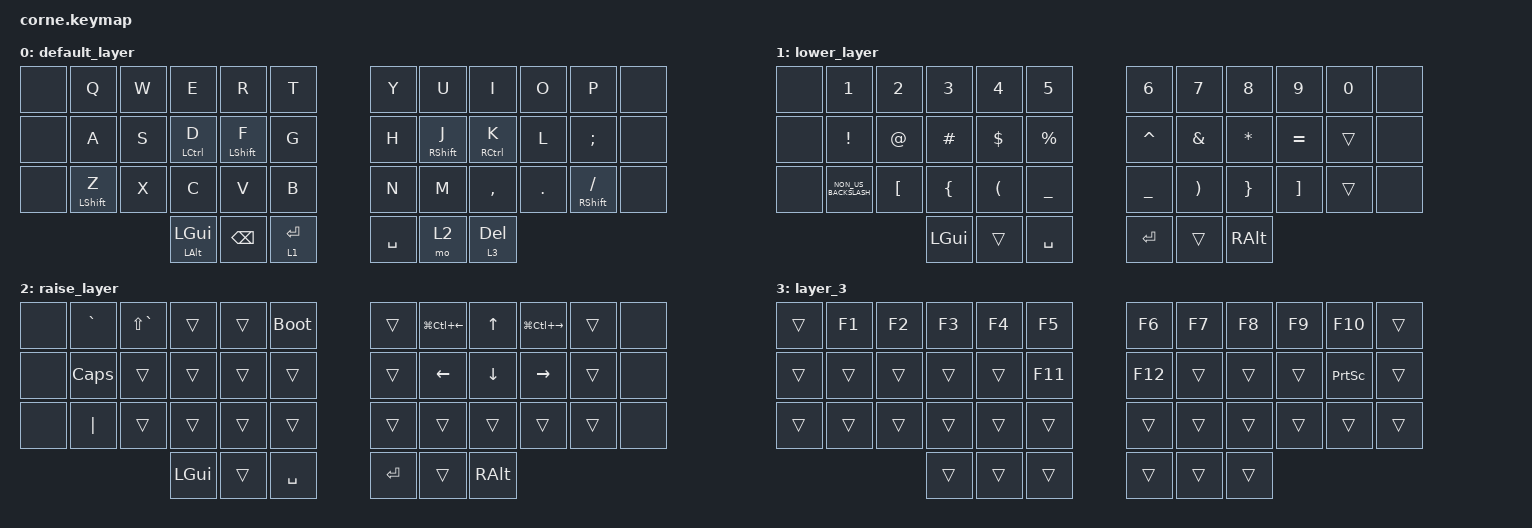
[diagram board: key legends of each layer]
/*
 * Copyright (c) 2020 The ZMK Contributors
 *
 * SPDX-License-Identifier: MIT
 */

#include <behaviors.dtsi>
#include <dt-bindings/zmk/keys.h>

&mt {
    tapping-term-ms = <210>;
    flavor = "tap-preferred";
};

&lt { tapping-term-ms = <210>; };

/ {
    combos {
        compatible = "zmk,combos";

        escape {
            timeout-ms = <30>;
            bindings = <&kp ESCAPE>;
            key-positions = <1 2>;
        };

        tab {
            timeout-ms = <30>;
            bindings = <&kp TAB>;
            key-positions = <2 3>;
        };

        ctrl+s {
            timeout-ms = <30>;
            bindings = <&kp LC(S)>;
            key-positions = <13 14>;
        };

        ctrl+z {
            timeout-ms = <30>;
            bindings = <&kp LC(Z)>;
            key-positions = <25 26>;
        };

        ctrl+c {
            timeout-ms = <30>;
            bindings = <&kp LC(C)>;
            key-positions = <26 27>;
        };

        ctrl+v {
            timeout-ms = <30>;
            bindings = <&kp LC(V)>;
            key-positions = <27 28>;
        };

        minus {
            timeout-ms = <30>;
            bindings = <&kp MINUS>;
            key-positions = <19 20>;
        };

        plus {
            timeout-ms = <30>;
            bindings = <&kp PLUS>;
            key-positions = <20 21>;
        };

        apostrophe {
            timeout-ms = <30>;
            bindings = <&kp SQT>;
            key-positions = <7 8>;
        };

        quotes {
            timeout-ms = <30>;
            bindings = <&kp DOUBLE_QUOTES>;
            key-positions = <8 9>;
        };
    };

    keymap {
        compatible = "zmk,keymap";

        default_layer {
            // -----------------------------------------------------------------------------------------
            // |  TAB |  Q  |  W  |  E  |  R  |  T  |   |  Y  |  U   |  I  |  O  |  P  | BKSP |
            // | CTRL |  A  |  S  |  D  |  F  |  G  |   |  H  |  J   |  K  |  L  |  ;  |  '   |
            // | SHFT |  Z  |  X  |  C  |  V  |  B  |   |  N  |  M   |  ,  |  .  |  /  | ESC  |
            //                    | GUI | LWR | SPC |   | ENT | RSE  | ALT |

            bindings = <
&none  &kp Q             &kp W  &kp E                  &kp R             &kp T          &kp Y      &kp U              &kp I                &kp O    &kp P                  &none
&none  &kp A             &kp S  &mt LEFT_CONTROL D     &mt LEFT_SHIFT F  &kp G          &kp H      &mt RIGHT_SHIFT J  &mt RIGHT_CONTROL K  &kp L    &kp SEMI               &none
&none  &mt LEFT_SHIFT Z  &kp X  &kp C                  &kp V             &kp B          &kp N      &kp M              &kp COMMA            &kp DOT  &mt RIGHT_SHIFT SLASH  &none
                                &mt LEFT_ALT LEFT_GUI  &kp BACKSPACE     &lt 1 ENTER    &kp SPACE  &mo 2              &lt 3 DELETE
            >;
        };

        lower_layer {
            // -----------------------------------------------------------------------------------------
            // |  TAB |  1  |  2  |  3  |  4  |  5  |   |  6  |  7  |  8  |  9  |  0  | BKSP |
            // | BTCLR| BT1 | BT2 | BT3 | BT4 | BT5 |   | LFT | DWN |  UP | RGT |     |      |
            // | SHFT |     |     |     |     |     |   |     |     |     |     |     |      |
            //                    | GUI |     | SPC |   | ENT |     | ALT |

            bindings = <
&none  &kp N1                &kp N2            &kp N3          &kp N4                &kp N5            &kp N6          &kp N7                 &kp N8           &kp N9             &kp N0  &none
&none  &kp EXCLAMATION       &kp AT_SIGN       &kp HASH        &kp DOLLAR            &kp PERCENT       &kp CARET       &kp AMPERSAND          &kp ASTERISK     &kp EQUAL          &trans  &none
&none  &kp NON_US_BACKSLASH  &kp LEFT_BRACKET  &kp LEFT_BRACE  &kp LEFT_PARENTHESIS  &kp UNDERSCORE    &kp UNDERSCORE  &kp RIGHT_PARENTHESIS  &kp RIGHT_BRACE  &kp RIGHT_BRACKET  &trans  &none
                                               &kp LGUI        &trans                &kp SPACE         &kp RET         &trans                 &kp RALT
            >;
        };

        raise_layer {
            // -----------------------------------------------------------------------------------------
            // |  TAB |  !  |  @  |  #  |  $  |  %  |   |  ^  |  &  |  *  |  (  |  )  | BKSP |
            // | CTRL |     |     |     |     |     |   |  -  |  =  |  [  |  ]  |  \  |  `   |
            // | SHFT |     |     |     |     |     |   |  _  |  +  |  {  |  }  | "|" |  ~   |
            //                    | GUI |     | SPC |   | ENT |     | ALT |

            bindings = <
&none  &kp GRAVE     &kp LS(GRAVE)  &trans    &trans  &bootloader    &trans   &kp LG(LC(LEFT_ARROW))  &kp UP_ARROW    &kp LG(LC(RIGHT_ARROW))  &trans  &none
&none  &kp CAPSLOCK  &trans         &trans    &trans  &trans         &trans   &kp LEFT_ARROW          &kp DOWN_ARROW  &kp RIGHT_ARROW          &trans  &none
&none  &kp PIPE      &trans         &trans    &trans  &trans         &trans   &trans                  &trans          &trans                   &trans  &none
                                    &kp LGUI  &trans  &kp SPACE      &kp RET  &trans                  &kp RALT
            >;
        };

        layer_3 {
            bindings = <
&trans  &kp F1  &kp F2  &kp F3  &kp F4  &kp F5     &kp F6   &kp F7  &kp F8  &kp F9  &kp F10          &trans
&trans  &trans  &trans  &trans  &trans  &kp F11    &kp F12  &trans  &trans  &trans  &kp PRINTSCREEN  &trans
&trans  &trans  &trans  &trans  &trans  &trans     &trans   &trans  &trans  &trans  &trans           &trans
                        &trans  &trans  &trans     &trans   &trans  &trans
            >;
        };
    };
};
